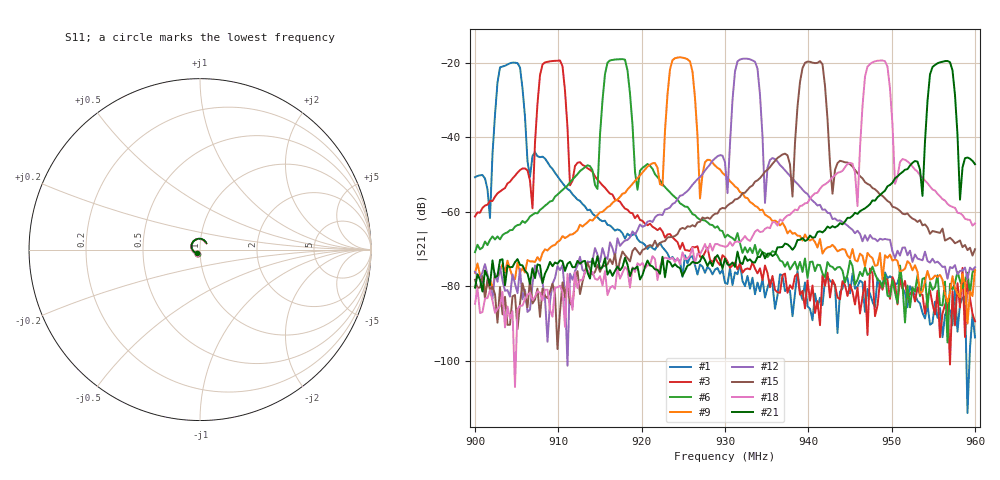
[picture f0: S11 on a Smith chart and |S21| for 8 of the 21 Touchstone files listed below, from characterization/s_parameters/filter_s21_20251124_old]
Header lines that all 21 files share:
!File created by NanoVNA-F V2
# Hz S RI R 50
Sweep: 900 MHz to 960 MHz
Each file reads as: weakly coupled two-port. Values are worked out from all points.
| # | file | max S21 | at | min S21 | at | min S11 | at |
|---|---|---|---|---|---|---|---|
| 1 | filter_00.s2p | -19.93 dB | 904.5 MHz | -114.0 dB | 959.1 MHz | -31.0 dB | 900.3 MHz |
| 2 | filter_01.s2p | -17.73 dB | 907.2 MHz | -111.0 dB | 959.4 MHz | -30.7 dB | 900 MHz |
| 3 | filter_02.s2p | -19.35 dB | 910.2 MHz | -101.0 dB | 957 MHz | -30.8 dB | 900.3 MHz |
| 4 | filter_03.s2p | -19.21 dB | 912.6 MHz | -89.7 dB | 953.7 MHz | -31.1 dB | 900 MHz |
| 5 | filter_04.s2p | -19.84 dB | 915 MHz | -102.4 dB | 948 MHz | -31.1 dB | 900 MHz |
| 6 | filter_05.s2p | -18.98 dB | 917.4 MHz | -95.0 dB | 956.7 MHz | -30.9 dB | 900 MHz |
| 7 | filter_06.s2p | -19.94 dB | 920.4 MHz | -87.0 dB | 959.7 MHz | -30.8 dB | 900 MHz |
| 8 | filter_07.s2p | -20.34 dB | 923.1 MHz | -92.6 dB | 955.5 MHz | -31.4 dB | 900 MHz |
| 9 | filter_08.s2p | -18.48 dB | 924.6 MHz | -90.0 dB | 959.1 MHz | -31.4 dB | 900.3 MHz |
| 10 | filter_09.s2p | -19.19 dB | 928.2 MHz | -96.5 dB | 959.7 MHz | -31.6 dB | 900.3 MHz |
| 11 | filter_10.s2p | -19.44 dB | 930.6 MHz | -80.1 dB | 959.1 MHz | -31.6 dB | 900.3 MHz |
| 12 | filter_11.s2p | -18.85 dB | 932.4 MHz | -101.3 dB | 911.1 MHz | -31.5 dB | 900 MHz |
| 13 | filter_12.s2p | -18.27 dB | 935.7 MHz | -85.7 dB | 907.8 MHz | -31.5 dB | 900 MHz |
| 14 | filter_13.s2p | -19.17 dB | 938.4 MHz | -96.3 dB | 901.2 MHz | -31.2 dB | 900 MHz |
| 15 | filter_14.s2p | -19.51 dB | 941.4 MHz | -96.8 dB | 909.9 MHz | -30.3 dB | 900 MHz |
| 16 | filter_15.s2p | -18.20 dB | 942.6 MHz | -84.6 dB | 901.2 MHz | -30.4 dB | 900.3 MHz |
| 17 | filter_16.s2p | -18.64 dB | 945.9 MHz | -91.4 dB | 903.3 MHz | -30.6 dB | 900 MHz |
| 18 | filter_17.s2p | -19.35 dB | 948.9 MHz | -107.0 dB | 904.8 MHz | -30.0 dB | 900 MHz |
| 19 | filter_18.s2p | -18.96 dB | 950.7 MHz | -95.7 dB | 918 MHz | -30.5 dB | 900 MHz |
| 20 | filter_19.s2p | -19.71 dB | 953.1 MHz | -88.0 dB | 920.7 MHz | -30.6 dB | 900 MHz |
| 21 | filter_20.s2p | -19.47 dB | 956.7 MHz | -81.4 dB | 900.9 MHz | -31.4 dB | 900 MHz |
